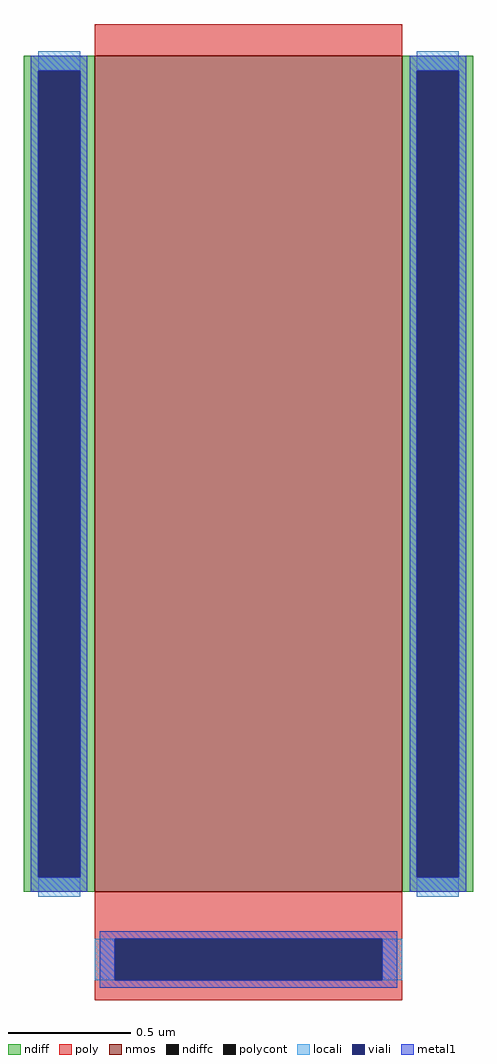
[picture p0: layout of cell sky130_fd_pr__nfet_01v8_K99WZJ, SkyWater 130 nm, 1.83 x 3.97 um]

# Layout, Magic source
magic
tech sky130A
magscale 1 2
<< nmos >>
rect -125 -309 125 371
<< ndiff >>
rect -183 359 -125 371
rect -183 -297 -171 359
rect -137 -297 -125 359
rect -183 -309 -125 -297
rect 125 359 183 371
rect 125 -297 137 359
rect 171 -297 183 359
rect 125 -309 183 -297
<< ndiffc >>
rect -171 -297 -137 359
rect 137 -297 171 359
<< poly >>
rect -125 371 125 397
rect -125 -347 125 -309
rect -125 -381 -109 -347
rect 109 -381 125 -347
rect -125 -397 125 -381
<< polycont >>
rect -109 -381 109 -347
<< locali >>
rect -171 359 -137 375
rect -171 -313 -137 -297
rect 137 359 171 375
rect 137 -313 171 -297
rect -125 -381 -109 -347
rect 109 -381 125 -347
<< viali >>
rect -171 -297 -137 359
rect 137 -297 171 359
rect -109 -381 109 -347
<< metal1 >>
rect -177 359 -131 371
rect -177 -297 -171 359
rect -137 -297 -131 359
rect -177 -309 -131 -297
rect 131 359 177 371
rect 131 -297 137 359
rect 171 -297 177 359
rect 131 -309 177 -297
rect -121 -347 121 -341
rect -121 -381 -109 -347
rect 109 -381 121 -347
rect -121 -387 121 -381
<< properties >>
string gencell sky130_fd_pr__nfet_01v8
string library sky130
string parameters w 3.4 l 1.25 m 1 nf 1 diffcov 100 polycov 100 guard 0 glc 1 grc 1 gtc 1 gbc 1 tbcov 100 rlcov 100 topc 0 botc 1 poverlap 0 doverlap 1 lmin 0.15 wmin 0.42 class mosfet compatible {sky130_fd_pr__nfet_01v8 sky130_fd_pr__nfet_01v8_lvt  sky130_fd_bs_flash__special_sonosfet_star  sky130_fd_pr__nfet_g5v0d10v5 sky130_fd_pr__nfet_05v0_nvt  sky130_fd_pr__nfet_03v3_nvt} full_metal 1 viasrc 100 viadrn 100 viagate 100 viagb 0 viagr 0 viagl 0 viagt 0
<< end >>
